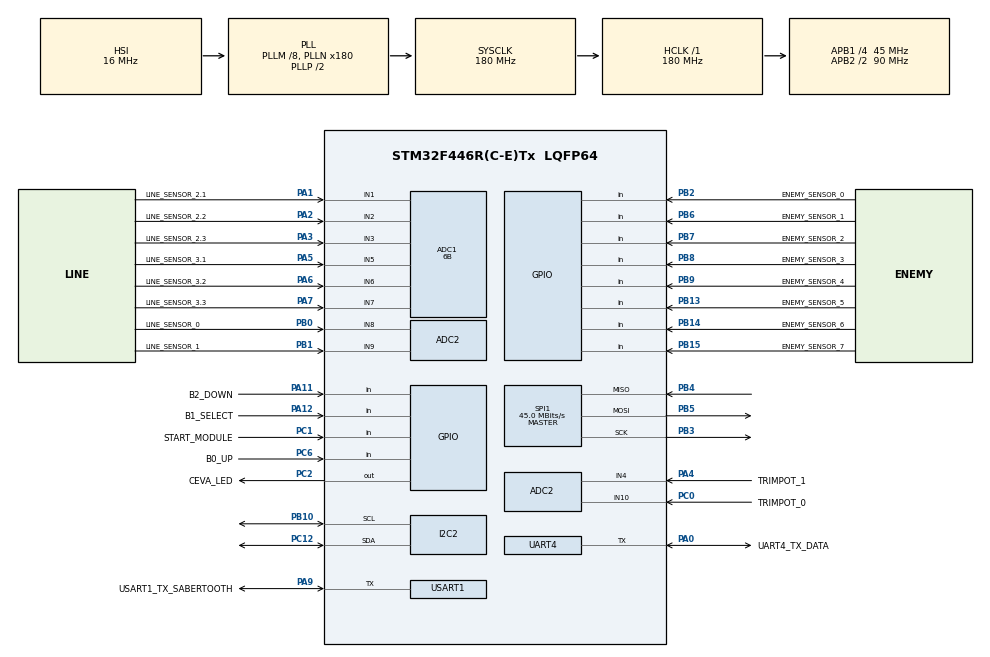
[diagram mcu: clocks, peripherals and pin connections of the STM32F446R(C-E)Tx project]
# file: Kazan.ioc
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ADC1.Channel-13\#ChannelRegularConversion=ADC_CHANNEL_1
ADC1.Channel-14\#ChannelRegularConversion=ADC_CHANNEL_2
ADC1.Channel-15\#ChannelRegularConversion=ADC_CHANNEL_3
ADC1.Channel-16\#ChannelRegularConversion=ADC_CHANNEL_5
ADC1.Channel-17\#ChannelRegularConversion=ADC_CHANNEL_6
ADC1.Channel-18\#ChannelRegularConversion=ADC_CHANNEL_7
ADC1.ContinuousConvMode=DISABLE
ADC1.NbrOfConversion=6
ADC1.NbrOfConversionFlag=1
ADC1.Rank-13\#ChannelRegularConversion=1
ADC1.Rank-14\#ChannelRegularConversion=2
ADC1.Rank-15\#ChannelRegularConversion=3
ADC1.Rank-16\#ChannelRegularConversion=4
ADC1.Rank-17\#ChannelRegularConversion=5
ADC1.Rank-18\#ChannelRegularConversion=6
ADC1.Resolution=ADC_RESOLUTION_6B
ADC1.SamplingTime-13\#ChannelRegularConversion=ADC_SAMPLETIME_3CYCLES
ADC1.SamplingTime-14\#ChannelRegularConversion=ADC_SAMPLETIME_3CYCLES
ADC1.SamplingTime-15\#ChannelRegularConversion=ADC_SAMPLETIME_3CYCLES
ADC1.SamplingTime-16\#ChannelRegularConversion=ADC_SAMPLETIME_3CYCLES
ADC1.SamplingTime-17\#ChannelRegularConversion=ADC_SAMPLETIME_3CYCLES
ADC1.SamplingTime-18\#ChannelRegularConversion=ADC_SAMPLETIME_3CYCLES
ADC1.master=1
ADC2.Channel-10\#ChannelRegularConversion=ADC_CHANNEL_8
ADC2.Channel-11\#ChannelRegularConversion=ADC_CHANNEL_9
ADC2.Channel-12\#ChannelRegularConversion=ADC_CHANNEL_10
ADC2.Channel-9\#ChannelRegularConversion=ADC_CHANNEL_4
ADC2.NbrOfConversion=4
ADC2.NbrOfConversionFlag=1
ADC2.Rank-10\#ChannelRegularConversion=2
ADC2.Rank-11\#ChannelRegularConversion=3
ADC2.Rank-12\#ChannelRegularConversion=4
ADC2.Rank-9\#ChannelRegularConversion=1
ADC2.SamplingTime-10\#ChannelRegularConversion=ADC_SAMPLETIME_28CYCLES
ADC2.SamplingTime-11\#ChannelRegularConversion=ADC_SAMPLETIME_28CYCLES
ADC2.SamplingTime-12\#ChannelRegularConversion=ADC_SAMPLETIME_28CYCLES
ADC2.SamplingTime-9\#ChannelRegularConversion=ADC_SAMPLETIME_28CYCLES
Mcu.Family=STM32F4
Mcu.Name=STM32F446R(C-E)Tx
Mcu.Package=LQFP64
NVIC.PriorityGroup=NVIC_PRIORITYGROUP_4
PA0-WKUP.GPIO_Label=UART4_TX_DATA
PA0-WKUP.Mode=Half_duplex(single_wire_mode)
PA0-WKUP.Signal=UART4_TX
PA1.GPIO_Label=LINE_SENSOR_2.1
PA1.Signal=ADCx_IN1
PA11.GPIO_Label=B2_DOWN
PA11.GPIO_PuPd=GPIO_PULLUP
PA11.Signal=GPIO_Input
PA12.GPIO_Label=B1_SELECT
PA12.GPIO_PuPd=GPIO_PULLUP
PA12.Signal=GPIO_Input
PA13.Mode=Serial_Wire
PA13.Signal=SYS_JTMS-SWDIO
PA14.Mode=Serial_Wire
PA14.Signal=SYS_JTCK-SWCLK
PA2.GPIO_Label=LINE_SENSOR_2.2
PA2.Signal=ADCx_IN2
PA3.GPIO_Label=LINE_SENSOR_2.3
PA3.Signal=ADCx_IN3
PA4.GPIO_Label=TRIMPOT_1
PA4.Signal=ADCx_IN4
PA5.GPIO_Label=LINE_SENSOR_3.1
PA5.Signal=ADCx_IN5
PA6.GPIO_Label=LINE_SENSOR_3.2
PA6.Signal=ADCx_IN6
PA7.GPIO_Label=LINE_SENSOR_3.3
PA7.Signal=ADCx_IN7
PA9.GPIO_Label=USART1_TX_SABERTOOTH
PA9.Mode=Half_duplex(single_wire_mode)
PA9.Signal=USART1_TX
PB0.GPIO_Label=LINE_SENSOR_0
PB0.Signal=ADCx_IN8
PB1.GPIO_Label=LINE_SENSOR_1
PB1.Signal=ADCx_IN9
PB10.Mode=I2C
PB10.Signal=I2C2_SCL
PB13.GPIO_Label=ENEMY_SENSOR_5
PB13.Signal=GPIO_Input
PB14.GPIO_Label=ENEMY_SENSOR_6
PB14.Signal=GPIO_Input
PB15.GPIO_Label=ENEMY_SENSOR_7
PB15.Signal=GPIO_Input
PB2.GPIO_Label=ENEMY_SENSOR_0
PB2.Signal=GPIO_Input
PB3.Mode=Full_Duplex_Master
PB3.Signal=SPI1_SCK
PB4.Mode=Full_Duplex_Master
PB4.Signal=SPI1_MISO
PB5.Mode=Full_Duplex_Master
PB5.Signal=SPI1_MOSI
PB6.GPIO_Label=ENEMY_SENSOR_1
PB6.Signal=GPIO_Input
PB7.GPIO_Label=ENEMY_SENSOR_2
PB7.Signal=GPIO_Input
PB8.GPIO_Label=ENEMY_SENSOR_3
PB8.Signal=GPIO_Input
PB9.GPIO_Label=ENEMY_SENSOR_4
PB9.Signal=GPIO_Input
PC0.GPIO_Label=TRIMPOT_0
PC0.Signal=ADCx_IN10
PC1.GPIO_Label=START_MODULE
PC1.Signal=GPIO_Input
PC12.Mode=I2C
PC12.Signal=I2C2_SDA
PC14-OSC32_IN.Mode=LSE-External-Oscillator
PC14-OSC32_IN.Signal=RCC_OSC32_IN
PC15-OSC32_OUT.Mode=LSE-External-Oscillator
PC15-OSC32_OUT.Signal=RCC_OSC32_OUT
PC2.GPIO_Label=CEVA_LED
PC2.Signal=GPIO_Output
PC6.GPIO_Label=B0_UP
PC6.GPIO_PuPd=GPIO_PULLUP
PC6.Signal=GPIO_Input
PH0-OSC_IN.Mode=HSE-External-Oscillator
PH0-OSC_IN.Signal=RCC_OSC_IN
PH1-OSC_OUT.Mode=HSE-External-Oscillator
PH1-OSC_OUT.Signal=RCC_OSC_OUT
ProjectManager.HeapSize=0x200
ProjectManager.StackSize=0x400
ProjectManager.TargetToolchain=STM32CubeIDE
RCC.AHBFreq_Value=180000000
RCC.APB1CLKDivider=RCC_HCLK_DIV4
RCC.APB1Freq_Value=45000000
RCC.APB1TimFreq_Value=90000000
RCC.APB2CLKDivider=RCC_HCLK_DIV2
RCC.APB2Freq_Value=90000000
RCC.APB2TimFreq_Value=180000000
RCC.CortexFreq_Value=180000000
RCC.HCLKFreq_Value=180000000
RCC.PLLM=8
RCC.PLLN=180
RCC.SYSCLKFreq_VALUE=180000000
RCC.SYSCLKSource=RCC_SYSCLKSOURCE_PLLCLK
RCC.USBFreq_Value=180000000
RCC.VCOOutputFreq_Value=360000000
SH.ADCx_IN1.0=ADC1_IN1,IN1
SH.ADCx_IN10.0=ADC2_IN10,IN10
SH.ADCx_IN2.0=ADC1_IN2,IN2
SH.ADCx_IN3.0=ADC1_IN3,IN3
SH.ADCx_IN4.0=ADC2_IN4,IN4
SH.ADCx_IN5.0=ADC1_IN5,IN5
SH.ADCx_IN6.0=ADC1_IN6,IN6
SH.ADCx_IN7.0=ADC1_IN7,IN7
SH.ADCx_IN8.0=ADC2_IN8,IN8
SH.ADCx_IN9.0=ADC2_IN9,IN9
SPI1.CalculateBaudRate=45.0 MBits/s
SPI1.Direction=SPI_DIRECTION_2LINES
SPI1.Mode=SPI_MODE_MASTER
SPI1.VirtualType=VM_MASTER
UART4.VirtualMode=Asynchronous
USART1.VirtualMode=VM_ASYNC
board=custom

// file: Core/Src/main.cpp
/* USER CODE BEGIN Header */
/**
  ******************************************************************************
  * @file           : main.c
  * @brief          : Main program body
  ******************************************************************************
  * @attention
  *
  * Copyright (c) 2023 STMicroelectronics.
  * All rights reserved.
  *
  * This software is licensed under terms that can be found in the LICENSE file
  * in the root directory of this software component.
  * If no LICENSE file comes with this software, it is provided AS-IS.
  *
  ******************************************************************************
  */
/* USER CODE END Header */

#include "main.h"
#include "stdio.h"
#include "string.h"
#include "ssd1306.h"
#include "application.h"
#include "stm32f4xx_hal_gpio.h"

/* USER CODE END Includes */

ADC_HandleTypeDef hadc1;
ADC_HandleTypeDef hadc2;

I2C_HandleTypeDef hi2c2;

SPI_HandleTypeDef hspi1;

UART_HandleTypeDef huart4_data;
UART_HandleTypeDef huart1_motor;

void SystemClock_Config(void);
static void MX_GPIO_Init(void);
static void MX_ADC1_Init(void);
static void MX_ADC2_Init(void);
static void MX_I2C2_Init(void);
static void MX_UART4_Init(void);
static void MX_SPI1_Init(void);
static void MX_USART1_UART_Init(void);

/* USER CODE BEGIN 0 */

uint32_t readADC1(uint32_t ADC_CHANNEL)
{
  ADC_ChannelConfTypeDef sConfig = {0};
  sConfig.Channel = ADC_CHANNEL;
  sConfig.Rank = 1;
  sConfig.SamplingTime = ADC_SAMPLETIME_3CYCLES;
  if (HAL_ADC_ConfigChannel(&hadc1, &sConfig) != HAL_OK)
  {
	Error_Handler();
  }

  HAL_ADC_Start(&hadc1);
  HAL_ADC_PollForConversion(&hadc1, 1000);
  uint32_t value = HAL_ADC_GetValue(&hadc1);
  HAL_ADC_Stop(&hadc1);
  return value;
}

uint32_t readADC2(uint32_t ADC_CHANNEL)
{
	ADC_ChannelConfTypeDef sConfig = {0};
	sConfig.Channel = ADC_CHANNEL;
	sConfig.Rank = 1;
	sConfig.SamplingTime = ADC_SAMPLETIME_480CYCLES;
	if (HAL_ADC_ConfigChannel(&hadc2, &sConfig) != HAL_OK)
	{
		Error_Handler();
	}

  HAL_ADC_Start(&hadc2);
  HAL_ADC_PollForConversion(&hadc2, 1000);
  uint32_t value = HAL_ADC_GetValue(&hadc2);
  HAL_ADC_Stop(&hadc2);
  return value;
}
/* USER CODE END 0 */

int main(void)
{

  /* MCU Configuration--------------------------------------------------------*/

  /* Reset of all peripherals, Initializes the Flash interface and the Systick. */
  HAL_Init();

  /* Configure the system clock */
  SystemClock_Config();

  /* Initialize all configured peripherals */

  MX_GPIO_Init();
  MX_ADC1_Init();
  MX_ADC2_Init();
  MX_I2C2_Init();
  MX_UART4_Init();
  MX_SPI1_Init();
  MX_USART1_UART_Init();

  /* Infinite loop */
  /* USER CODE BEGIN WHILE */
  Application application;
  application.run();

  while (1)
  {

//	  char s[100] = "";
//
//	  uint32_t value1 = readADC2(TRIMPOT_0_CHANNEL);
//	  uint32_t value2 = readADC2(TRIMPOT_1_CHANNEL);
//	  sprintf(s,"value is %d   ---   %d\r\n", (int) value1, (int) value2);
//	  HAL_UART_Transmit(&huart4_data, (uint8_t *)s, strlen(s), 1000);
//	  HAL_Delay(100);
//
//	  uint32_t a0 = readADC1(LINE_SENSOR_0_CHANNEL);
//	  uint32_t a1 = readADC1(LINE_SENSOR_1_CHANNEL);
//	  uint32_t a2_1 = readADC1(LINE_SENSOR_2_1_CHANNEL);
//	  uint32_t a2_2 = 99;
//	  a2_2 = readADC1(LINE_SENSOR_2_2_CHANNEL);
//	  uint32_t a2_3 = readADC1(LINE_SENSOR_2_3_CHANNEL);
//	  uint32_t a3_1 = readADC1(LINE_SENSOR_3_1_CHANNEL);
//	  uint32_t a3_2 = readADC1(LINE_SENSOR_3_2_CHANNEL);
//	  uint32_t a3_3 = readADC1(LINE_SENSOR_3_3_CHANNEL);
//	  sprintf(s,"2 sen is %d   ---   %d\r\n", (int) a0, (int) a1);
//	  HAL_UART_Transmit(&huart4_data, (uint8_t *)s, strlen(s), 1000);
//	  sprintf(s,"back sen is %d --- %d --- %d   -------   %d --- %d --- %d\r\n\r\n", (int) a2_1, (int) a2_2, (int) a2_3, (int) a3_1, (int) a3_2, (int) a3_3);
//	  HAL_UART_Transmit(&huart4_data, (uint8_t *)s, strlen(s), 1000);
//	  HAL_Delay(100);
//
//	  ///Motor Test
//	  HAL_UART_Transmit(&huart1_motor, (uint8_t *)s, strlen(s), 1000);

//	  char s[] =
//	  HAL_UART_Transmit(&huart1_motor,motorData , 2, 1000);
	  uint8_t motorData[] = {2,27};
	  HAL_UART_Transmit(&huart1_motor,motorData , 2, 1000);
  }
  /* USER CODE END 3 */
}

void SystemClock_Config(void)
{
  RCC_OscInitTypeDef RCC_OscInitStruct = {0};
  RCC_ClkInitTypeDef RCC_ClkInitStruct = {0};

  /** Configure the main internal regulator output voltage
  */
  __HAL_RCC_PWR_CLK_ENABLE();
  __HAL_PWR_VOLTAGESCALING_CONFIG(PWR_REGULATOR_VOLTAGE_SCALE1);

  /** Initializes the RCC Oscillators according to the specified parameters
  * in the RCC_OscInitTypeDef structure.
  */
  RCC_OscInitStruct.OscillatorType = RCC_OSCILLATORTYPE_HSI;
  RCC_OscInitStruct.HSIState = RCC_HSI_ON;
  RCC_OscInitStruct.HSICalibrationValue = RCC_HSICALIBRATION_DEFAULT;
  RCC_OscInitStruct.PLL.PLLState = RCC_PLL_ON;
  RCC_OscInitStruct.PLL.PLLSource = RCC_PLLSOURCE_HSI;
  RCC_OscInitStruct.PLL.PLLM = 8;
  RCC_OscInitStruct.PLL.PLLN = 180;
  RCC_OscInitStruct.PLL.PLLP = RCC_PLLP_DIV2;
  RCC_OscInitStruct.PLL.PLLQ = 2;
  RCC_OscInitStruct.PLL.PLLR = 2;
  if (HAL_RCC_OscConfig(&RCC_OscInitStruct) != HAL_OK)
  {
    Error_Handler();
  }

  /** Activate the Over-Drive mode
  */
  if (HAL_PWREx_EnableOverDrive() != HAL_OK)
  {
    Error_Handler();
  }

  /** Initializes the CPU, AHB and APB buses clocks
  */
  RCC_ClkInitStruct.ClockType = RCC_CLOCKTYPE_HCLK|RCC_CLOCKTYPE_SYSCLK
                              |RCC_CLOCKTYPE_PCLK1|RCC_CLOCKTYPE_PCLK2;
  RCC_ClkInitStruct.SYSCLKSource = RCC_SYSCLKSOURCE_PLLCLK;
  RCC_ClkInitStruct.AHBCLKDivider = RCC_SYSCLK_DIV1;
  RCC_ClkInitStruct.APB1CLKDivider = RCC_HCLK_DIV4;
  RCC_ClkInitStruct.APB2CLKDivider = RCC_HCLK_DIV2;

  if (HAL_RCC_ClockConfig(&RCC_ClkInitStruct, FLASH_LATENCY_5) != HAL_OK)
  {
    Error_Handler();
  }
}

static void MX_ADC1_Init(void)
{

  ADC_ChannelConfTypeDef sConfig = {0};

  /** Configure the global features of the ADC (Clock, Resolution, Data Alignment and number of conversion)
  */
  hadc1.Instance = ADC1;
  hadc1.Init.ClockPrescaler = ADC_CLOCK_SYNC_PCLK_DIV4;
  hadc1.Init.Resolution = ADC_RESOLUTION_6B;
  hadc1.Init.ScanConvMode = ENABLE;
  hadc1.Init.ContinuousConvMode = DISABLE;
  hadc1.Init.DiscontinuousConvMode = DISABLE;
  hadc1.Init.ExternalTrigConvEdge = ADC_EXTERNALTRIGCONVEDGE_NONE;
  hadc1.Init.ExternalTrigConv = ADC_SOFTWARE_START;
  hadc1.Init.DataAlign = ADC_DATAALIGN_RIGHT;
  hadc1.Init.NbrOfConversion = 1;
  hadc1.Init.DMAContinuousRequests = DISABLE;
  hadc1.Init.EOCSelection = ADC_EOC_SINGLE_CONV;
  if (HAL_ADC_Init(&hadc1) != HAL_OK)
  {
    Error_Handler();
  }
}

static void MX_ADC2_Init(void)
{

  ADC_ChannelConfTypeDef sConfig = {0};

  /** Configure the global features of the ADC (Clock, Resolution, Data Alignment and number of conversion)
  */
  hadc2.Instance = ADC2;
  hadc2.Init.ClockPrescaler = ADC_CLOCK_SYNC_PCLK_DIV4;
  hadc2.Init.Resolution = ADC_RESOLUTION_12B;
  hadc2.Init.ScanConvMode = ENABLE;
  hadc2.Init.ContinuousConvMode = DISABLE;
  hadc2.Init.DiscontinuousConvMode = DISABLE;
  hadc2.Init.ExternalTrigConvEdge = ADC_EXTERNALTRIGCONVEDGE_NONE;
  hadc2.Init.ExternalTrigConv = ADC_SOFTWARE_START;
  hadc2.Init.DataAlign = ADC_DATAALIGN_RIGHT;
  hadc2.Init.NbrOfConversion = 1;
  hadc2.Init.DMAContinuousRequests = DISABLE;
  hadc2.Init.EOCSelection = ADC_EOC_SINGLE_CONV;
  if (HAL_ADC_Init(&hadc2) != HAL_OK)
  {
    Error_Handler();
  }

}

static void MX_I2C2_Init(void)
{

  hi2c2.Instance = I2C2;
  hi2c2.Init.ClockSpeed = 100000;
  hi2c2.Init.DutyCycle = I2C_DUTYCYCLE_2;
  hi2c2.Init.OwnAddress1 = 0;
  hi2c2.Init.AddressingMode = I2C_ADDRESSINGMODE_7BIT;
  hi2c2.Init.DualAddressMode = I2C_DUALADDRESS_DISABLE;
  hi2c2.Init.OwnAddress2 = 0;
  hi2c2.Init.GeneralCallMode = I2C_GENERALCALL_DISABLE;
  hi2c2.Init.NoStretchMode = I2C_NOSTRETCH_DISABLE;
  if (HAL_I2C_Init(&hi2c2) != HAL_OK)
  {
    Error_Handler();
  }

}

static void MX_SPI1_Init(void)
{

  /* SPI1 parameter configuration*/
  hspi1.Instance = SPI1;
  hspi1.Init.Mode = SPI_MODE_MASTER;
  hspi1.Init.Direction = SPI_DIRECTION_2LINES;
  hspi1.Init.DataSize = SPI_DATASIZE_8BIT;
  hspi1.Init.CLKPolarity = SPI_POLARITY_LOW;
  hspi1.Init.CLKPhase = SPI_PHASE_1EDGE;
  hspi1.Init.NSS = SPI_NSS_SOFT;
  hspi1.Init.BaudRatePrescaler = SPI_BAUDRATEPRESCALER_2;
  hspi1.Init.FirstBit = SPI_FIRSTBIT_MSB;
  hspi1.Init.TIMode = SPI_TIMODE_DISABLE;
  hspi1.Init.CRCCalculation = SPI_CRCCALCULATION_DISABLE;
  hspi1.Init.CRCPolynomial = 10;
  if (HAL_SPI_Init(&hspi1) != HAL_OK)
  {
    Error_Handler();
  }

}

static void MX_UART4_Init(void)
{

  huart4_data.Instance = UART4;
  huart4_data.Init.BaudRate = 38400;
  huart4_data.Init.WordLength = UART_WORDLENGTH_8B;
  huart4_data.Init.StopBits = UART_STOPBITS_1;
  huart4_data.Init.Parity = UART_PARITY_NONE;
  huart4_data.Init.Mode = UART_MODE_TX_RX;
  huart4_data.Init.HwFlowCtl = UART_HWCONTROL_NONE;
  huart4_data.Init.OverSampling = UART_OVERSAMPLING_16;
  if (HAL_HalfDuplex_Init(&huart4_data) != HAL_OK)
  {
    Error_Handler();
  }

}

static void MX_USART1_UART_Init(void)
{

  huart1_motor.Instance = USART1;
  huart1_motor.Init.BaudRate = 115200;
  huart1_motor.Init.WordLength = UART_WORDLENGTH_8B;
  huart1_motor.Init.StopBits = UART_STOPBITS_1;
  huart1_motor.Init.Parity = UART_PARITY_NONE;
  huart1_motor.Init.Mode = UART_MODE_TX_RX;
  huart1_motor.Init.HwFlowCtl = UART_HWCONTROL_NONE;
  huart1_motor.Init.OverSampling = UART_OVERSAMPLING_16;
  if (HAL_HalfDuplex_Init(&huart1_motor) != HAL_OK)
  {
    Error_Handler();
  }

}

static void MX_GPIO_Init(void)
{
  GPIO_InitTypeDef GPIO_InitStruct = {0};

  /* GPIO Ports Clock Enable */
  __HAL_RCC_GPIOC_CLK_ENABLE();
  __HAL_RCC_GPIOH_CLK_ENABLE();
  __HAL_RCC_GPIOA_CLK_ENABLE();
  __HAL_RCC_GPIOB_CLK_ENABLE();

  /*Configure GPIO pin Output Level */
  HAL_GPIO_WritePin(CEVA_LED_GPIO_Port, CEVA_LED_Pin, GPIO_PIN_RESET);

  /*Configure GPIO pin : START_MODULE_Pin */
  GPIO_InitStruct.Pin = START_MODULE_Pin;
  GPIO_InitStruct.Mode = GPIO_MODE_INPUT;
  GPIO_InitStruct.Pull = GPIO_NOPULL;
  HAL_GPIO_Init(START_MODULE_GPIO_Port, &GPIO_InitStruct);

  /*Configure GPIO pin : CEVA_LED_Pin */
  GPIO_InitStruct.Pin = CEVA_LED_Pin;
  GPIO_InitStruct.Mode = GPIO_MODE_OUTPUT_PP;
  GPIO_InitStruct.Pull = GPIO_NOPULL;
  GPIO_InitStruct.Speed = GPIO_SPEED_FREQ_LOW;
  HAL_GPIO_Init(CEVA_LED_GPIO_Port, &GPIO_InitStruct);

  /*Configure GPIO pins : ENEMY_SENSOR_0_Pin ENEMY_SENSOR_5_Pin ENEMY_SENSOR_6_Pin ENEMY_SENSOR_7_Pin
                           ENEMY_SENSOR_1_Pin ENEMY_SENSOR_2_Pin ENEMY_SENSOR_3_Pin ENEMY_SENSOR_4_Pin */
  GPIO_InitStruct.Pin = ENEMY_SENSOR_0_Pin|ENEMY_SENSOR_5_Pin|ENEMY_SENSOR_6_Pin|ENEMY_SENSOR_7_Pin
                          |ENEMY_SENSOR_1_Pin|ENEMY_SENSOR_2_Pin|ENEMY_SENSOR_3_Pin|ENEMY_SENSOR_4_Pin;
  GPIO_InitStruct.Mode = GPIO_MODE_INPUT;
  GPIO_InitStruct.Pull = GPIO_NOPULL;
  HAL_GPIO_Init(GPIOB, &GPIO_InitStruct);

  /*Configure GPIO pin : B0_UP_Pin */
  GPIO_InitStruct.Pin = B0_UP_Pin;
  GPIO_InitStruct.Mode = GPIO_MODE_INPUT;
  GPIO_InitStruct.Pull = GPIO_PULLUP;
  HAL_GPIO_Init(B0_UP_GPIO_Port, &GPIO_InitStruct);

  /*Configure GPIO pins : B2_DOWN_Pin B1_SELECT_Pin */
  GPIO_InitStruct.Pin = B2_DOWN_Pin|B1_SELECT_Pin;
  GPIO_InitStruct.Mode = GPIO_MODE_INPUT;
  GPIO_InitStruct.Pull = GPIO_PULLUP;
  HAL_GPIO_Init(GPIOA, &GPIO_InitStruct);

}

void Error_Handler(void)
{
  __disable_irq();
  while (1)
  {
  }
}
